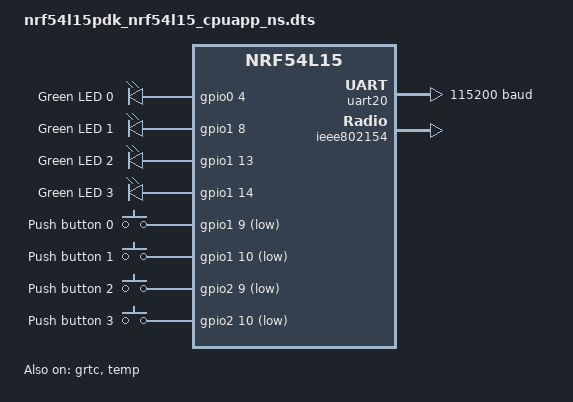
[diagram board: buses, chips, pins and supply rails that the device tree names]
/*
 * Copyright (c) 2024 Nordic Semiconductor ASA
 *
 * SPDX-License-Identifier: LicenseRef-Nordic-5-Clause
 */

/dts-v1/;
#include <nordic/nrf54l15_cpuapp_ns.dtsi>
#include "nrf54l15pdk_nrf54l15_cpuapp_ns-pinctrl.dtsi"

/ {
	chosen {
		zephyr,console = &uart20;
		/* TODO: NCSDK-24862: We don't support configuring RRAM and SRAM
		 * regions in the DTS file yet. The partition manager configures
		 * these regions now.
		 */
		zephyr,shell-uart = &uart20;
		zephyr,flash = &rram0;
		zephyr,sram = &sram0;
		zephyr,ieee802154 = &ieee802154;
	};

	leds {
		compatible = "gpio-leds";
		led0: led_0 {
			gpios = <&gpio0 4 GPIO_ACTIVE_HIGH>;
			label = "Green LED 0";
		};
		led1: led_1 {
			gpios = <&gpio1 8 GPIO_ACTIVE_HIGH>;
			label = "Green LED 1";
		};
		led2: led_2 {
			gpios = <&gpio1 13 GPIO_ACTIVE_HIGH>;
			label = "Green LED 2";
		};
		led3: led_3 {
			gpios = <&gpio1 14 GPIO_ACTIVE_HIGH>;
			label = "Green LED 3";
		};
	};

	buttons {
		compatible = "gpio-keys";
		button0: button_0 {
			gpios = <&gpio1 9 (GPIO_PULL_UP | GPIO_ACTIVE_LOW)>;
			label = "Push button 0";
			zephyr,code = <INPUT_KEY_0>;
		};
		button1: button_1 {
			gpios = <&gpio1 10 (GPIO_PULL_UP | GPIO_ACTIVE_LOW)>;
			label = "Push button 1";
			zephyr,code = <INPUT_KEY_1>;
		};
		button2: button_2 {
			gpios = <&gpio2 9 (GPIO_PULL_UP | GPIO_ACTIVE_LOW)>;
			label = "Push button 2";
			zephyr,code = <INPUT_KEY_2>;
		};
		button3: button_3 {
			gpios = <&gpio2 10 (GPIO_PULL_UP | GPIO_ACTIVE_LOW)>;
			label = "Push button 3";
			zephyr,code = <INPUT_KEY_3>;
		};
	};

	aliases {
		led0 = &led0;
		led1 = &led1;
		led2 = &led2;
		led3 = &led3;
		sw0 = &button0;
		sw1 = &button1;
		sw2 = &button2;
		sw3 = &button3;
	};
};

&uart20 {
	status = "okay";
	current-speed = <115200>;
	pinctrl-0 = <&uart20_default>;
	pinctrl-1 = <&uart20_sleep>;
	pinctrl-names = "default", "sleep";
};

&uart30 {
	/* Disable so that TF-M can use this UART */
	status = "disabled";

	current-speed = <115200>;
	pinctrl-0 = <&uart30_default>;
	pinctrl-1 = <&uart30_sleep>;
	pinctrl-names = "default", "sleep";
};

&grtc {
	status = "okay";
};

&gpio0 {
	status = "okay";
};

&gpio1 {
	status = "okay";
};

&gpio2 {
	status = "okay";
};

&gpiote20 {
	status = "okay";
};

&gpiote30 {
	status = "okay";
};

&ieee802154 {
	status = "okay";
};

&temp {
	status = "okay";
};

&clock {
	status = "okay";
};
